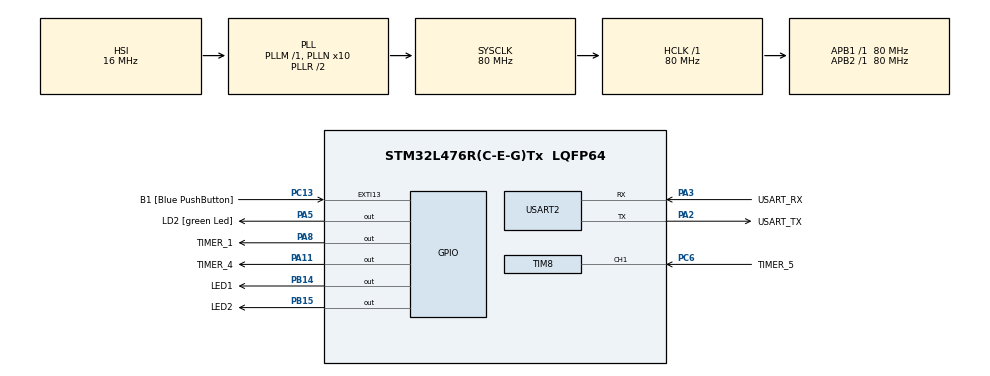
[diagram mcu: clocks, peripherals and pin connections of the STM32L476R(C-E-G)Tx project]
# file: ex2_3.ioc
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Mcu.Family=STM32L4
Mcu.Name=STM32L476R(C-E-G)Tx
Mcu.Package=LQFP64
NVIC.PriorityGroup=NVIC_PRIORITYGROUP_4
NVIC.TIM8_CC_IRQn=true\:0\:0\:false\:false\:true\:true\:true
NVIC.USART2_IRQn=true\:0\:0\:false\:false\:true\:true\:true
PA11.GPIO_Label=TIMER_4
PA11.Signal=GPIO_Output
PA13\ (JTMS-SWDIO).GPIO_Label=TMS
PA13\ (JTMS-SWDIO).Mode=Serial_Wire
PA13\ (JTMS-SWDIO).Signal=SYS_JTMS-SWDIO
PA14\ (JTCK-SWCLK).GPIO_Label=TCK
PA14\ (JTCK-SWCLK).Mode=Serial_Wire
PA14\ (JTCK-SWCLK).Signal=SYS_JTCK-SWCLK
PA2.GPIO_Label=USART_TX
PA2.GPIO_Mode=GPIO_MODE_AF_PP
PA2.GPIO_PuPd=GPIO_NOPULL
PA2.GPIO_Speed=GPIO_SPEED_FREQ_VERY_HIGH
PA2.Mode=Asynchronous
PA2.Signal=USART2_TX
PA3.GPIO_Label=USART_RX
PA3.GPIO_Mode=GPIO_MODE_AF_PP
PA3.GPIO_PuPd=GPIO_NOPULL
PA3.GPIO_Speed=GPIO_SPEED_FREQ_VERY_HIGH
PA3.Mode=Asynchronous
PA3.Signal=USART2_RX
PA5.GPIO_Label=LD2 [green Led]
PA5.GPIO_ModeDefaultOutputPP=GPIO_MODE_OUTPUT_PP
PA5.GPIO_PuPd=GPIO_NOPULL
PA5.GPIO_Speed=GPIO_SPEED_FREQ_LOW
PA5.Signal=GPIO_Output
PA8.GPIO_Label=TIMER_1
PA8.Signal=GPIO_Output
PB14.GPIO_Label=LED1
PB14.Signal=GPIO_Output
PB15.GPIO_Label=LED2
PB15.Signal=GPIO_Output
PB3\ (JTDO-TRACESWO).GPIO_Label=SWO
PB3\ (JTDO-TRACESWO).Signal=SYS_JTDO-SWO
PC13.GPIO_Label=B1 [Blue PushButton]
PC13.GPIO_ModeDefaultEXTI=GPIO_MODE_IT_FALLING
PC13.GPIO_PuPd=GPIO_NOPULL
PC13.Signal=GPXTI13
PC14-OSC32_IN\ (PC14).Mode=LSE-External-Oscillator
PC14-OSC32_IN\ (PC14).Signal=RCC_OSC32_IN
PC15-OSC32_OUT\ (PC15).Mode=LSE-External-Oscillator
PC15-OSC32_OUT\ (PC15).Signal=RCC_OSC32_OUT
PC6.GPIO_Label=TIMER_5
PC6.GPIO_PuPd=GPIO_PULLUP
PC6.Signal=S_TIM8_CH1
PH0-OSC_IN\ (PH0).Signal=RCC_OSC_IN
PH1-OSC_OUT\ (PH1).Signal=RCC_OSC_OUT
ProjectManager.HeapSize=0x200
ProjectManager.StackSize=0x400
ProjectManager.TargetToolchain=STM32CubeIDE
RCC.ADCFreq_Value=64000000
RCC.AHBFreq_Value=80000000
RCC.APB1Freq_Value=80000000
RCC.APB1TimFreq_Value=80000000
RCC.APB2Freq_Value=80000000
RCC.APB2TimFreq_Value=80000000
RCC.CortexFreq_Value=80000000
RCC.HCLKFreq_Value=80000000
RCC.HSE_VALUE=8000000
RCC.HSI_VALUE=16000000
RCC.MSI_VALUE=4000000
RCC.PLLN=10
RCC.PLLSourceVirtual=RCC_PLLSOURCE_HSI
RCC.PREFETCH_ENABLE=1
RCC.SYSCLKFreq_VALUE=80000000
RCC.SYSCLKSource=RCC_SYSCLKSOURCE_PLLCLK
RCC.USBFreq_Value=64000000
RCC.VCOOutputFreq_Value=160000000
SH.S_TIM8_CH1.0=TIM8_CH1,Input_Capture1_from_TI1
TIM7.Period=9599
TIM7.Prescaler=9999
TIM8.AutoReloadPreload=TIM_AUTORELOAD_PRELOAD_DISABLE
TIM8.Channel-Input_Capture1_from_TI1=TIM_CHANNEL_1
TIM8.ICPolarity_CH1=TIM_INPUTCHANNELPOLARITY_BOTHEDGE
TIM8.Period=65535
TIM8.Prescaler=31999
USART2.VirtualMode-Asynchronous=VM_ASYNC
VP_TIM7_VS_ClockSourceINT.Mode=Enable_Timer
board=NUCLEO-L476RG

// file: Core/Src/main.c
/* USER CODE BEGIN Header */
/**
  ******************************************************************************
  * @file           : main.c
  * @brief          : Main program body
  ******************************************************************************
  * @attention
  *
  * <h2><center>&copy; Copyright (c) 2021 STMicroelectronics.
  * All rights reserved.</center></h2>
  *
  * This software component is licensed by ST under BSD 3-Clause license,
  * the "License"; You may not use this file except in compliance with the
  * License. You may obtain a copy of the License at:
  *                        opensource.org/licenses/BSD-3-Clause
  *
  ******************************************************************************
  */
/* USER CODE END Header */
#include "main.h"
#include "tim.h"
#include "usart.h"
#include "gpio.h"

/* USER CODE BEGIN Includes */
#include "stdio.h"
/* USER CODE END Includes */

/* USER CODE BEGIN PV */
uint16_t size=2;
uint8_t received[2];
volatile int z_flag=0;
volatile int icc_flag=0;
volatile int period=0;
/* USER CODE END PV */

void SystemClock_Config(void);
/* USER CODE BEGIN PFP */
int _write(int file, uint8_t *ptr, int len){
	HAL_UART_Transmit(&huart2, ptr, len, 100);
	return  len;
};

void HAL_UART_RxCpltCallback(UART_HandleTypeDef *huart){
	if(huart->Instance==USART2){
		if(received[0]=='z'){
			z_flag=1;
		};
		HAL_UART_Receive_IT(&huart2, received, size);
	};
};

void HAL_TIM_IC_CaptureCallback(TIM_HandleTypeDef *htim ){
	if(htim->Instance==TIM8){
		if( htim->Channel == HAL_TIM_ACTIVE_CHANNEL_1){
			period = __HAL_TIM_GET_COMPARE(&htim8, TIM_CHANNEL_1);
			__HAL_TIM_SET_COUNTER(&htim8, 0);
			icc_flag=1;
		};
	};
}

/* USER CODE END PFP */

int main(void)
{
  /* USER CODE BEGIN 1 */
	int seconds=0;
	int miliseconds=0;
	int microseconds=0;
  /* USER CODE END 1 */

  /* MCU Configuration--------------------------------------------------------*/

  /* Reset of all peripherals, Initializes the Flash interface and the Systick. */
  HAL_Init();

  /* Configure the system clock */
  SystemClock_Config();

  /* Initialize all configured peripherals */
  MX_GPIO_Init();
  MX_USART2_UART_Init();
  MX_TIM7_Init();
  MX_TIM8_Init();
  /* USER CODE BEGIN 2 */
  HAL_UART_Receive_IT(&huart2, received, size);
  HAL_TIM_IC_Start_IT(&htim8 , TIM_CHANNEL_1) ;

  /* USER CODE END 2 */

  /* Infinite loop */
  while (1)
  {

    /* USER CODE BEGIN 3 */
	  if(z_flag==1){
		  HAL_GPIO_TogglePin(TIMER_1_GPIO_Port, TIMER_1_Pin);
		  z_flag=0;
	  };
	  if(icc_flag==1){
		  	  seconds=period/2500;
		  	  miliseconds=(period%2500)*4/10;
		  	  microseconds=(((period%25)*400)%1000);
	  		  printf("zmiana sygnalu po %d s %03d ms %03d us \r\n", seconds, miliseconds, microseconds);
	  		  icc_flag=0;
	  	  };
  }
  /* USER CODE END 3 */
}

void SystemClock_Config(void)
{
  RCC_OscInitTypeDef RCC_OscInitStruct = {0};
  RCC_ClkInitTypeDef RCC_ClkInitStruct = {0};
  RCC_PeriphCLKInitTypeDef PeriphClkInit = {0};

  /** Initializes the RCC Oscillators according to the specified parameters
  * in the RCC_OscInitTypeDef structure.
  */
  RCC_OscInitStruct.OscillatorType = RCC_OSCILLATORTYPE_HSI;
  RCC_OscInitStruct.HSIState = RCC_HSI_ON;
  RCC_OscInitStruct.HSICalibrationValue = RCC_HSICALIBRATION_DEFAULT;
  RCC_OscInitStruct.PLL.PLLState = RCC_PLL_ON;
  RCC_OscInitStruct.PLL.PLLSource = RCC_PLLSOURCE_HSI;
  RCC_OscInitStruct.PLL.PLLM = 1;
  RCC_OscInitStruct.PLL.PLLN = 10;
  RCC_OscInitStruct.PLL.PLLP = RCC_PLLP_DIV7;
  RCC_OscInitStruct.PLL.PLLQ = RCC_PLLQ_DIV2;
  RCC_OscInitStruct.PLL.PLLR = RCC_PLLR_DIV2;
  if (HAL_RCC_OscConfig(&RCC_OscInitStruct) != HAL_OK)
  {
    Error_Handler();
  }
  /** Initializes the CPU, AHB and APB buses clocks
  */
  RCC_ClkInitStruct.ClockType = RCC_CLOCKTYPE_HCLK|RCC_CLOCKTYPE_SYSCLK
                              |RCC_CLOCKTYPE_PCLK1|RCC_CLOCKTYPE_PCLK2;
  RCC_ClkInitStruct.SYSCLKSource = RCC_SYSCLKSOURCE_PLLCLK;
  RCC_ClkInitStruct.AHBCLKDivider = RCC_SYSCLK_DIV1;
  RCC_ClkInitStruct.APB1CLKDivider = RCC_HCLK_DIV1;
  RCC_ClkInitStruct.APB2CLKDivider = RCC_HCLK_DIV1;

  if (HAL_RCC_ClockConfig(&RCC_ClkInitStruct, FLASH_LATENCY_4) != HAL_OK)
  {
    Error_Handler();
  }
  PeriphClkInit.PeriphClockSelection = RCC_PERIPHCLK_USART2;
  PeriphClkInit.Usart2ClockSelection = RCC_USART2CLKSOURCE_PCLK1;
  if (HAL_RCCEx_PeriphCLKConfig(&PeriphClkInit) != HAL_OK)
  {
    Error_Handler();
  }
  /** Configure the main internal regulator output voltage
  */
  if (HAL_PWREx_ControlVoltageScaling(PWR_REGULATOR_VOLTAGE_SCALE1) != HAL_OK)
  {
    Error_Handler();
  }
}

void Error_Handler(void)
{
}

/************************ (C) COPYRIGHT STMicroelectronics *****END OF FILE****/
